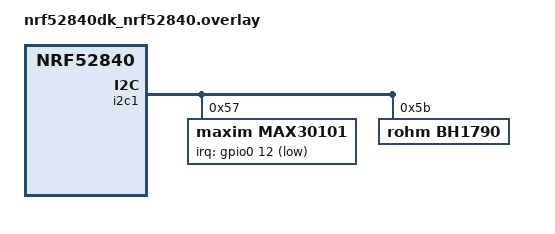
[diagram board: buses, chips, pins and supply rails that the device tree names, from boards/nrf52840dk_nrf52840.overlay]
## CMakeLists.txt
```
# SPDX-License-Identifier: Apache-2.0

cmake_minimum_required(VERSION 3.28.0)
find_package(Zephyr REQUIRED HINTS $ENV{ZEPHYR_BASE})
project(max30101)

FILE(GLOB app_sources src/*.c)
target_sources(app PRIVATE ${app_sources})
```

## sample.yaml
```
sample:
  name: Heart Rate Sensor Sample
tests:
  sample.sensor.heart_rate:
    harness: sensor
    tags: sensors
    platform_allow: hexiwear/mk64f12
    depends_on: i2c
    integration_platforms:
      - hexiwear/mk64f12
```

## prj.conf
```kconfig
CONFIG_STDOUT_CONSOLE=y
CONFIG_LOG=y
CONFIG_I2C=y
CONFIG_SENSOR=y
CONFIG_SENSOR_LOG_LEVEL_DBG=y
```

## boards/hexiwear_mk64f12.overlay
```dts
/*
 * Copyright (c) 2019, Linaro Ltd.
 *
 * SPDX-License-Identifier: Apache-2.0
 */

/ {
	aliases {
		heart-rate-sensor = &max30101;
	};
};

&i2c0 {
	max30101: max30101@57 {
		led-slot = <3 0 0 0>;
		status = "okay";
	};
};

&gpioa {
	status = "okay";
};
```

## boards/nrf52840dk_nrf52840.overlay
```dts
/*
 * Copyright (c) 2025, Magpie Embedded
 *
 * SPDX-License-Identifier: Apache-2.0
 */

/ {
	aliases {
		heart-rate-sensor = &max30101;
	};
};

&i2c1 {
	compatible = "nordic,nrf-twi";
	pinctrl-0 = <&i2c0_default>;
	pinctrl-1 = <&i2c0_sleep>;
	pinctrl-names = "default", "sleep";
	status = "okay";

	/* Example configuration of a MAX30101 device on an I2C bus. */
	max30101: max30101@57 {
		compatible = "maxim,max30101";
		reg = <0x57>;
		acq-mode = "multi-led";
		led-slot = <3 0 0 0>;
		irq-gpios = <&gpio0 12 GPIO_ACTIVE_LOW>;
	};

	bh1790: bh1790@5b {
		compatible = "rohm,bh1790";
		reg = <0x5b>;
	};
};
```

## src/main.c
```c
/*
 * Copyright (c) 2017, NXP
 * Copyright (c) 2025, CATIE
 *
 * SPDX-License-Identifier: Apache-2.0
 */

#include <zephyr/kernel.h>
#include <zephyr/drivers/sensor.h>
#include <stdio.h>

#define MAX30101_SENSOR_CHANNEL SENSOR_CHAN_GREEN

static void print_sample_fetch(const struct device *dev)
{
	static struct sensor_value green;

	sensor_sample_fetch(dev);
	sensor_channel_get(dev, MAX30101_SENSOR_CHANNEL, &green);

	/* Print LED data*/
	printf("GREEN = %d\n", green.val1);
}

#if CONFIG_MAX30101_TRIGGER
static struct sensor_trigger trig_drdy;

void sensor_data_ready(const struct device *dev, const struct sensor_trigger *trigger)
{
	print_sample_fetch(dev);
}
#endif /* CONFIG_MAX30101_TRIGGER */

int main(void)
{
	const struct device *const dev = DEVICE_DT_GET(DT_ALIAS(heart_rate_sensor));

	if (dev == NULL) {
		printf("Could not get heart_rate_sensor\n");
		return 0;
	}
	if (!device_is_ready(dev)) {
		printf("Device %s is not ready\n", dev->name);
		return 0;
	}

#if CONFIG_MAX30101_TRIGGER
	trig_drdy.type = SENSOR_TRIG_DATA_READY;
	trig_drdy.chan = MAX30101_SENSOR_CHANNEL;
	sensor_trigger_set(dev, &trig_drdy, sensor_data_ready);
#endif /* CONFIG_MAX30101_TRIGGER */

	while (1) {
#if !CONFIG_MAX30101_TRIGGER
		print_sample_fetch(dev);
#endif /* !CONFIG_MAX30101_TRIGGER */

		k_sleep(K_MSEC(20));
	}
	return 0;
}
```
